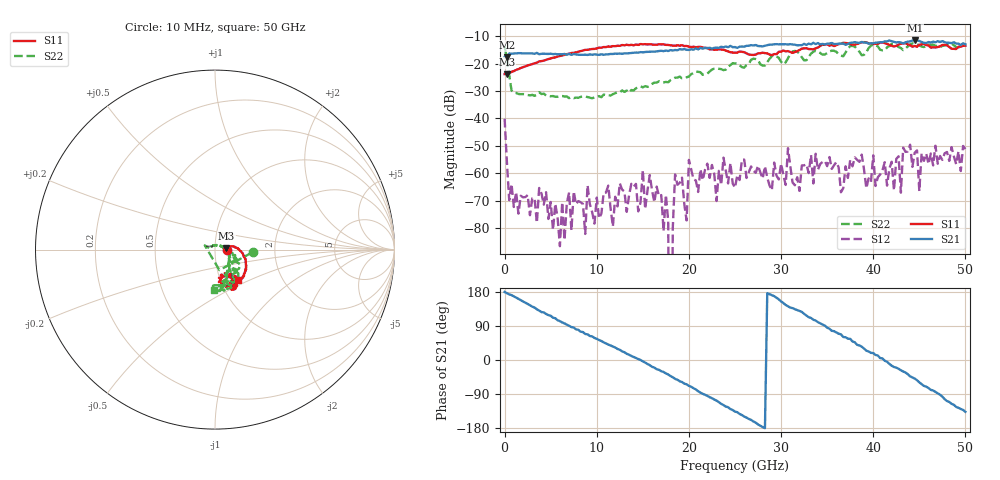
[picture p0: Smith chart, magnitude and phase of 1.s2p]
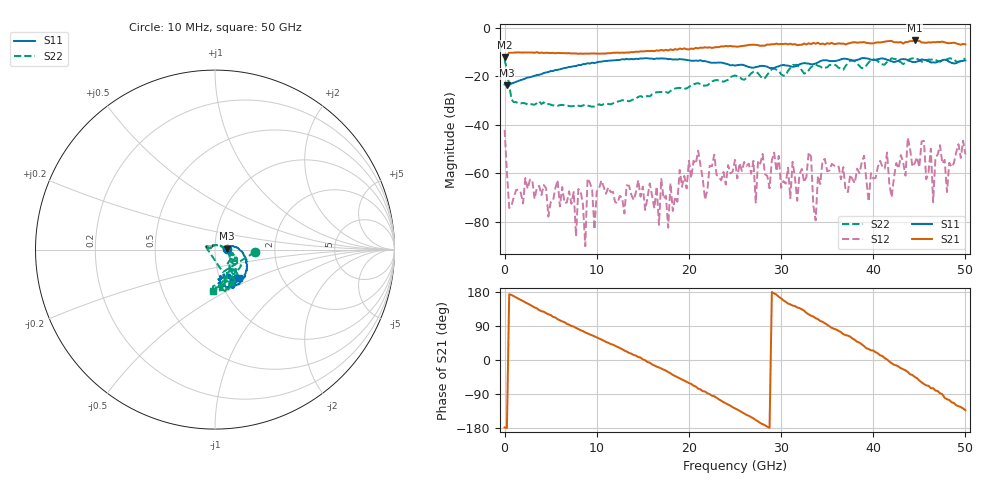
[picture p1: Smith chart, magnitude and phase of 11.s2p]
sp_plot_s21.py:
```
import skrf as rf
import matplotlib.pyplot as plt
import numpy as np
import os

# 获取脚本所在目录并切换到该目录
script_dir = os.path.dirname(os.path.abspath(__file__))
os.chdir(script_dir)

# 设置一个美观的绘图风格
plt.style.use('seaborn-v0_8-whitegrid')

try:
    # 1. 加载S2P文件（只需要加载一次）
    gain_set=['1','11']
    network = dict.fromkeys(gain_set)

    #network['wo power']=rf.Network('no_power.s2p')
    #network['0']=rf.Network('0.s2p')
    network['1']=rf.Network('1.s2p')
    network['11']=rf.Network('11.s2p')
    network['111']=rf.Network('111.s2p')
    network['1111']=rf.Network('1111.s2p')
    network['11111']=rf.Network('11111.s2p')
    network['111111']=rf.Network('111111.s2p')
    network['1111111']=rf.Network('1111111.s2p')

    # 2. 定义我们要绘制的S参数列表
    # 每个元组包含: (图表标题, (m, n) 索引)
    plots_to_make = [
        ('S21_focus', (1, 0))
    ]


    # 3. 循环创建、保存并显示每一张图
    for title, (m, n) in plots_to_make:
        print(f"正在生成 {title} 的图表...")
        
        # --- 在循环内部创建新的图和坐标轴 ---
        # 这样可以确保每次都是一张独立的、全新的图
        fig, ax = plt.subplots(figsize=(8, 5))
        
        # 使用scikit-rf的绘图函数，并指定要绘制的S参数
        for g,s in network.items():
            s.plot_s_db(m=m, n=n, ax=ax, label=g)
        
        
        # 自定义图表信息
        ax.set_title(f'S-Parameter Magnitude ({title})')
        ax.set_xlabel('Frequency (Hz)')
        ax.set_ylabel('Magnitude (dB)')
        ax.legend()
        ax.grid(True)
        # 将 y 轴刻度设置为每 1 dB 一个刻度
        try:
            ymin, ymax = ax.get_ylim()
            # 向外取整确保刻度覆盖整个范围
            ymin = np.floor(ymin)
            ymax = np.ceil(ymax)
            ax.set_yticks(np.arange(ymin, ymax + 1, 1))
        except Exception:
            # 如果发生任何问题（例如数据为空），就忽略，让 matplotlib 使用默认刻度
            pass
        
        # 调整布局以防标签被裁剪
        plt.tight_layout()
        
        # 定义保存的文件名
        filename = f'{title}_plot.png'
        
        # --- 保存当前这张图 ---
        # 使用高质量设置（300 DPI）并裁剪掉多余的白边
        plt.savefig(filename, dpi=300, bbox_inches='tight')
        print(f"图表已保存到: {filename}")
        
        # --- 显示当前这张图 ---
        # plt.show()会显示图像，并且在窗口关闭后清空画布，为下一张图做准备
        plt.show()

    print("\n所有图表已处理完毕！")

except FileNotFoundError:
    print("错误：未找到'cal_thru.s2p'文件。请确保数据文件与脚本在同一目录下。")
except Exception as e:
    print(f"处理文件时发生错误: {e}")
```
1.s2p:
!Agilent Technologies,E8364C,MY43040239,A.09.42.22
!Agilent E8364C: A.09.42.22
!Date: Sunday, September 14, 2025 22:24:53
!Correction: S11(Full 2 Port(1,2))
!S21(Full 2 Port(1,2))
!S12(Full 2 Port(1,2))
!S22(Full 2 Port(1,2))
!S2P File: Measurements: S11, S21, S12, S22:
# Hz S  RI  R 50
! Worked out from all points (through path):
!   201 points, 10 MHz to 50 GHz, reference 50 ohm
!   highest |S21| = -11.55 dB at 44.5 GHz (marker M1); lowest = -17.7 dB at 259.9 MHz (marker M2)
!   lowest |S11| = -23.8 dB at 259.9 MHz (marker M3), VSWR 1.14, Z = 56.8 + j0.705 ohm
!   |S11| at or under -10 dB: start of sweep to end of sweep
!   |S22| runs from -32.7 to -12.6 dB; largest |S21 - S12| = 0.26
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1e7  0.0643 -0.00235  -0.1313 0.00107  0.00729 0.00659  0.209 -0.0152
2.5995e8  0.0639 0.00618  -0.1294 0.00811  -0.000755 -0.00139  0.0246 -0.114
5.25895e9  0.1281 0.00724  -0.0547 0.1383  7.95e-05 -4.62e-05  -0.0172 0.0189
1.5007e10  0.1332 -0.1815  0.1603 -0.0101  -0.000927 -0.000656  0.0314 0.0193
1.825635e10  0.0741 -0.2007  0.1213 -0.1238  -9.03e-05 4.58e-05  0.0522 0.00702
1.975605e10  0.0566 -0.202  0.0777 -0.1605  8.7e-05 0.000106  0.056 0.00282
2.0006e10  0.0549 -0.1961  0.0658 -0.1649  -0.00174 0.000155  0.058 -0.00355
2.5005e10  0.0221 -0.157  -0.1448 -0.1389  -0.000505 -0.000197  0.0978 -0.0241
4.45011e10  0.0909 -0.1889  0.1732 -0.2  -0.000775 -0.00223  0.0552 -0.2228
4.5001e10  0.088 -0.2014  0.1333 -0.2217  -0.000123 0.000454  0.0605 -0.206
5e10  0.1276 -0.1696  -0.1645 -0.1544  0.00254 -0.0011  -0.00491 -0.2272
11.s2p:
!Agilent Technologies,E8364C,MY43040239,A.09.42.22
!Agilent E8364C: A.09.42.22
!Date: Sunday, September 14, 2025 22:25:44
!Correction: S11(Full 2 Port(1,2))
!S21(Full 2 Port(1,2))
!S12(Full 2 Port(1,2))
!S22(Full 2 Port(1,2))
!S2P File: Measurements: S11, S21, S12, S22:
# Hz S  RI  R 50
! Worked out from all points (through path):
!   201 points, 10 MHz to 50 GHz, reference 50 ohm
!   highest |S21| = -5.29 dB at 44.5 GHz (marker M1); lowest = -12.2 dB at 10 MHz (marker M2)
!   lowest |S11| = -23.8 dB at 259.9 MHz (marker M3), VSWR 1.14, Z = 56.9 + j0.652 ohm
!   |S11| at or under -10 dB: start of sweep to end of sweep
!   |S22| runs from -32.6 to -12.5 dB; largest |S21 - S12| = 0.54
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1e7  0.0675 0.00323  -0.2444 -0.00836  0.0071 -0.00328  0.2228 -0.0131
2.5995e8  0.0642 0.00571  -0.2607 -0.00115  0.000421 -0.000982  0.0434 -0.1254
1.775645e10  0.0872 -0.2064  0.2871 -0.1781  -3.93e-05 6.5e-05  0.0442 0.00946
2.10058e10  0.0384 -0.2036  0.0936 -0.362  0.000646 0.00284  0.0716 0.000918
2.5005e10  0.0177 -0.1646  -0.2501 -0.3249  -0.000155 0.00189  0.1003 -0.0248
3.175365e10  0.0688 -0.1518  -0.3264 0.2869  0.000272 1.92e-05  0.1459 -0.0892
3.30034e10  0.098 -0.1528  -0.2426 0.4099  0.0015 -0.00223  0.0794 -0.1067
3.375325e10  0.0874 -0.1604  -0.1622 0.4368  0.000101 -3.64e-05  0.1176 -0.1274
3.475305e10  0.1112 -0.1818  -0.0556 0.445  0.000975 -0.00172  0.0951 -0.1151
4.45011e10  0.0871 -0.1744  0.3876 -0.3818  0.00145 0.00071  0.0564 -0.2311
5e10  0.1361 -0.161  -0.3057 -0.3336  0.000188 0.00245  -0.00864 -0.23
